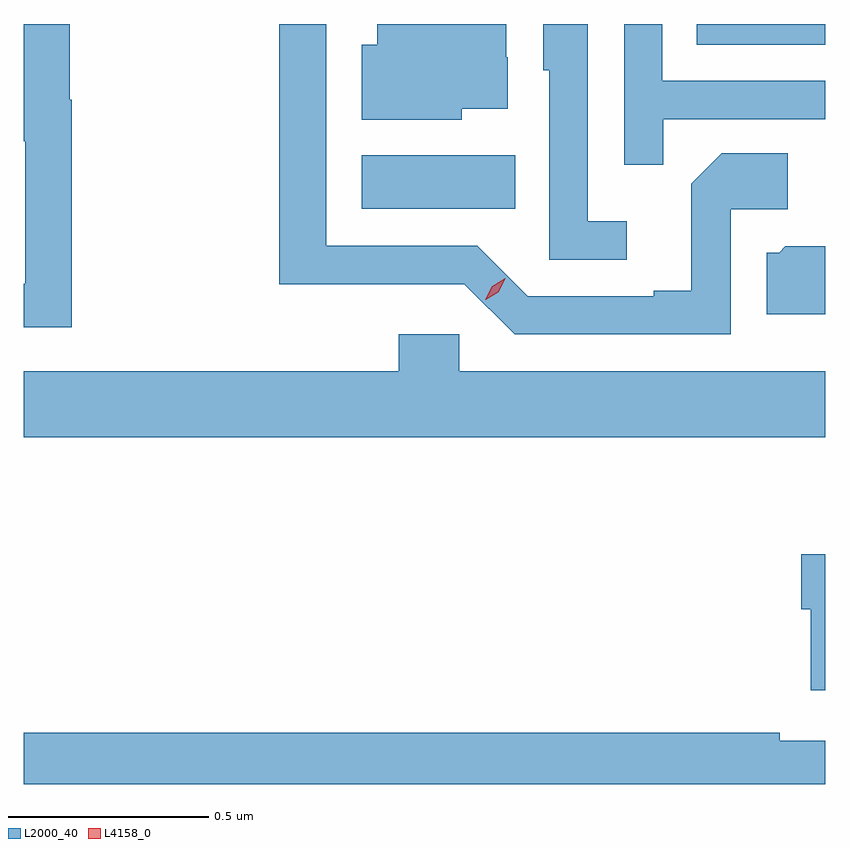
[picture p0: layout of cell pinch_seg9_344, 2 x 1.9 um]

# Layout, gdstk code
import gdstk
lib = gdstk.Library(unit=1e-6, precision=1e-09)
def R(c, l, rs):  # rectangles x0, y0, x1, y1
    for r in rs: c.add(gdstk.rectangle(r[:2], r[2:], *l))
def P(c, l, *ps):  # polygons
    for p in ps: c.add(gdstk.Polygon(p, *l))
L2000_40 = (2000, 40)
L4158_0 = (4158, 0)

pinch_seg9_344 = lib.new_cell('pinch_seg9_344')
R(pinch_seg9_344, L2000_40, [(615.56,1182.338,615.944,1182.472), (616.396,1182.747,616.717,1182.799)])
P(pinch_seg9_344, L2000_40, [(615.81,1182.587),(615.925,1182.587),(615.925,1182.716),(615.921,1182.716),(615.921,1182.799),(615.599,1182.799),(615.599,1182.747),(615.56,1182.747),(615.56,1182.56),(615.81,1182.56)],
  [(616.313,1182.561),(616.717,1182.561),(616.717,1182.657),(616.311,1182.657),(616.311,1182.799),(616.215,1182.799),(616.215,1182.448),(616.313,1182.448)],
  [(616.222,1182.307),(616.125,1182.307),(616.125,1182.799),(616.014,1182.799),(616.014,1182.684),(616.029,1182.684),(616.029,1182.21),(616.222,1182.21)],
  [(616.482,1182.336),(616.624,1182.336),(616.624,1182.476),(616.459,1182.476),(616.383,1182.4),(616.383,1182.133),(616.289,1182.133),(616.289,1182.12),(615.975,1182.12),(615.849,1182.246),(615.472,1182.246),(615.472,1182.799),(615.354,1182.799),(615.354,1182.149),(615.594,1182.149),(615.594,1182.15),(615.816,1182.15),(615.942,1182.024),(616.482,1182.024)],
  [(614.837,1182.61),(614.831,1182.61),(614.831,1182.799),(614.717,1182.799),(614.717,1182.506),(614.72,1182.506),(614.72,1182.151),(614.717,1182.151),(614.717,1182.042),(614.837,1182.042)],
  [(616.717,1182.244),(616.618,1182.244),(616.602,1182.228),(616.571,1182.228),(616.571,1182.074),(616.717,1182.074)],
  [(616.717,1181.932),(615.804,1181.932),(615.804,1182.025),(615.653,1182.025),(615.653,1181.932),(614.717,1181.932),(614.717,1181.768),(616.717,1181.768)],
  [(616.717,1181.475),(616.658,1181.475),(616.658,1181.338),(616.681,1181.338),(616.681,1181.136),(616.717,1181.136)],
  [(616.717,1181.01),(616.604,1181.01),(616.604,1181.03),(614.717,1181.03),(614.717,1180.902),(616.717,1180.902)])
P(pinch_seg9_344, L4158_0, [(615.869,1182.111),(615.869,1182.111),(615.886,1182.144),(615.918,1182.164),(615.918,1182.164),(615.918,1182.163),(615.901,1182.13),(615.87,1182.111)])

lib.write_gds('pinch_seg9_344.gds')
